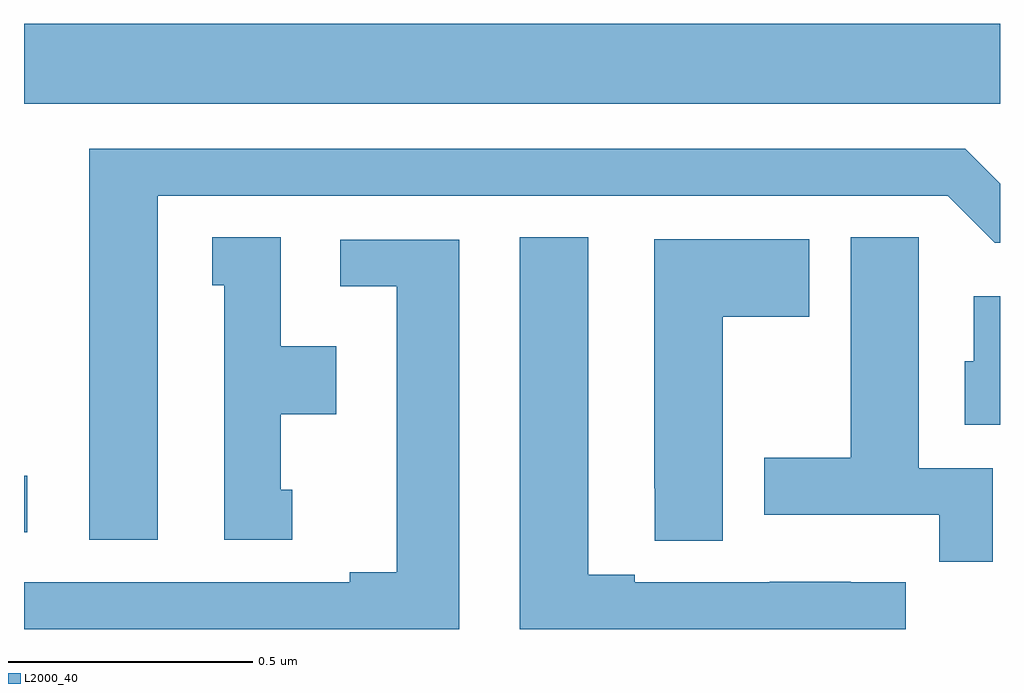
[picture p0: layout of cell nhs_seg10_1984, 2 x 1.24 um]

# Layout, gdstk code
import gdstk
lib = gdstk.Library(unit=1e-6, precision=1e-09)
def R(c, l, rs):  # rectangles x0, y0, x1, y1
    for r in rs: c.add(gdstk.rectangle(r[:2], r[2:], *l))
def P(c, l, *ps):  # polygons
    for p in ps: c.add(gdstk.Polygon(p, *l))
L2000_40 = (2000, 40)

nhs_seg10_1984 = lib.new_cell('nhs_seg10_1984')
R(nhs_seg10_1984, L2000_40, [(135,1288.782,135.007,1288.898), (135,1289.66,137,1289.824)])
P(nhs_seg10_1984, L2000_40, [(135.274,1289.472),(136.893,1289.472),(136.989,1289.376),(137,1289.376),(137,1289.497),(136.929,1289.568),(135.134,1289.568),(135.134,1288.767),(135.274,1288.767)],
  [(135.55,1288.869),(135.526,1288.869),(135.526,1289.024),(135.64,1289.024),(135.64,1289.164),(135.526,1289.164),(135.526,1289.387),(135.386,1289.387),(135.386,1289.289),(135.41,1289.289),(135.41,1288.767),(135.55,1288.767)],
  [(136.807,1288.68),(136.694,1288.68),(136.694,1288.681),(136.528,1288.681),(136.528,1288.68),(136.252,1288.68),(136.252,1288.695),(136.156,1288.695),(136.156,1289.387),(136.016,1289.387),(136.016,1288.584),(136.807,1288.584)],
  [(136.985,1288.914),(136.834,1288.914),(136.834,1289.276),(136.833,1289.276),(136.833,1289.387),(136.694,1289.387),(136.694,1288.935),(136.517,1288.935),(136.517,1288.818),(136.876,1288.818),(136.876,1288.722),(136.985,1288.722)],
  [(136.432,1289.224),(136.609,1289.224),(136.609,1289.383),(136.292,1289.383),(136.292,1288.873),(136.293,1288.873),(136.293,1288.765),(136.432,1288.765)],
  [(135.892,1289.382),(135.648,1289.382),(135.648,1289.286),(135.764,1289.286),(135.764,1288.7),(135.668,1288.7),(135.668,1288.68),(135,1288.68),(135,1288.584),(135.892,1288.584)],
  [(137,1289.266),(136.946,1289.266),(136.946,1289.133),(136.928,1289.133),(136.928,1289.003),(137,1289.003)])

lib.write_gds('nhs_seg10_1984.gds')
